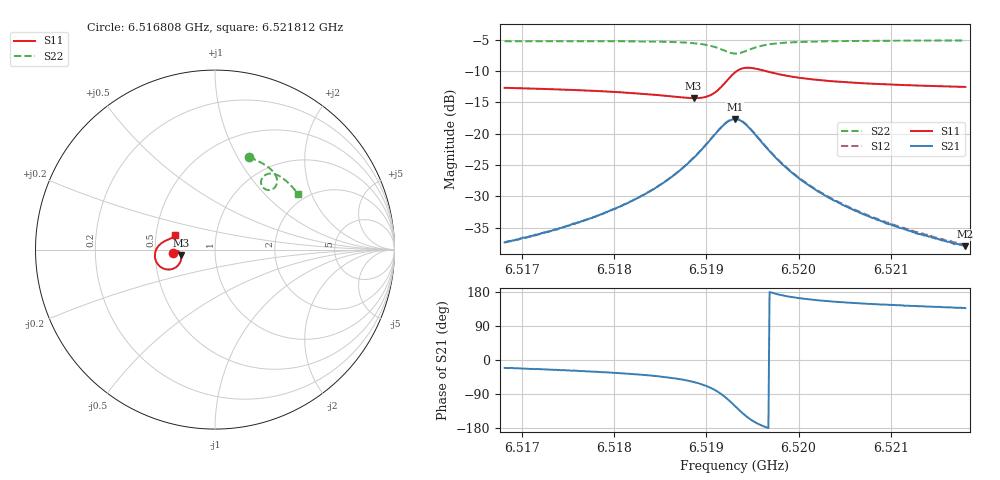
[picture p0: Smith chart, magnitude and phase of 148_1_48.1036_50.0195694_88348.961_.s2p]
#  HZ  S  RI  R  50.00
! Rohde & Schwarz Vector Network Analyzer
! Rohde-Schwarz,ZNB20-2Port,1311601062101988,3.16
! Created: UTC 12/23/2023, 3:49:28 AM
! freq[Hz]  re:S11  im:S11  re:S21  im:S21  re:S12  im:S12  re:S22  im:S22
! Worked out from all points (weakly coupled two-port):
!   401 points, 6.516808 GHz to 6.521812 GHz, reference 50 ohm
!   highest |S21| = -17.67 dB at 6.51931 GHz (marker M1); lowest = -38.0 dB at 6.521812 GHz (marker M2)
!   lowest |S11| = -14.3 dB at 6.51886 GHz (marker M3), VSWR 1.48, Z = 34 - j2.31 ohm
!   |S11| at or under -10 dB: start of sweep to 6.519329 GHz; 6.519645 GHz to end of sweep
!   |S22| runs from -7.2 to -5.1 dB; largest |S21 - S12| = 0.004
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6.5168084e9  -0.2315 -0.0208  0.0126 -0.0048  0.0128 -0.00434  0.1896 0.514
6.5171211e9  -0.2286 -0.0157  0.0141 -0.00618  0.0143 -0.00576  0.2129 0.5052
6.5176464e9  -0.2218 -0.00905  0.0175 -0.00973  0.0178 -0.00914  0.2518 0.4873
6.5181092e9  -0.2133 -0.0061  0.0221 -0.0159  0.0226 -0.015  0.2864 0.4666
6.5184844e9  -0.2029 -0.0097  0.028 -0.0263  0.0289 -0.0254  0.3153 0.4434
6.5186721e9  -0.1963 -0.0169  0.0316 -0.0364  0.0328 -0.0355  0.3298 0.427
6.5188597e9  -0.1896 -0.0327  0.0339 -0.054  0.0358 -0.0534  0.3425 0.4036
6.5189723e9  -0.1887 -0.0501  0.0317 -0.0713  0.034 -0.0708  0.3462 0.3835
6.5190723e9  -0.1954 -0.0731  0.0219 -0.0923  0.025 -0.0924  0.3422 0.3612
6.5192099e9  -0.2358 -0.1074  -0.0194 -0.1198  -0.016 -0.1213  0.3119 0.3334
6.5192599e9  -0.2622 -0.1111  -0.0438 -0.1205  -0.0406 -0.1227  0.293 0.3323
6.51931e9  -0.2908 -0.104  -0.0686 -0.1114  -0.0659 -0.1142  0.2745 0.3397
6.51936e9  -0.3145 -0.0864  -0.088 -0.0935  -0.0859 -0.0968  0.2614 0.3548
6.5194225e9  -0.3314 -0.0564  -0.0998 -0.0657  -0.0986 -0.069  0.2564 0.3774
6.5195351e9  -0.3307 -0.00856  -0.0939 -0.0249  -0.094 -0.0278  0.2705 0.4083
6.5196352e9  -0.3172 0.0175  -0.0795 -0.00508  -0.0799 -0.00746  0.2905 0.4203
6.5198853e9  -0.2858 0.044  -0.0507 0.0109  -0.0516 0.00963  0.3312 0.4209
6.520148e9  -0.2666 0.0534  -0.0346 0.0132  -0.0355 0.0124  0.3602 0.4088
6.5204982e9  -0.2512 0.0603  -0.0234 0.0124  -0.0242 0.012  0.3883 0.3895
6.520986e9  -0.2378 0.0676  -0.0156 0.0107  -0.0161 0.0105  0.4193 0.3608
6.5212987e9  -0.2316 0.0719  -0.0124 0.00979  -0.0131 0.00966  0.4365 0.342
6.5218115e9  -0.223 0.079  -0.00919 0.00863  -0.00973 0.00844  0.4615 0.3105
